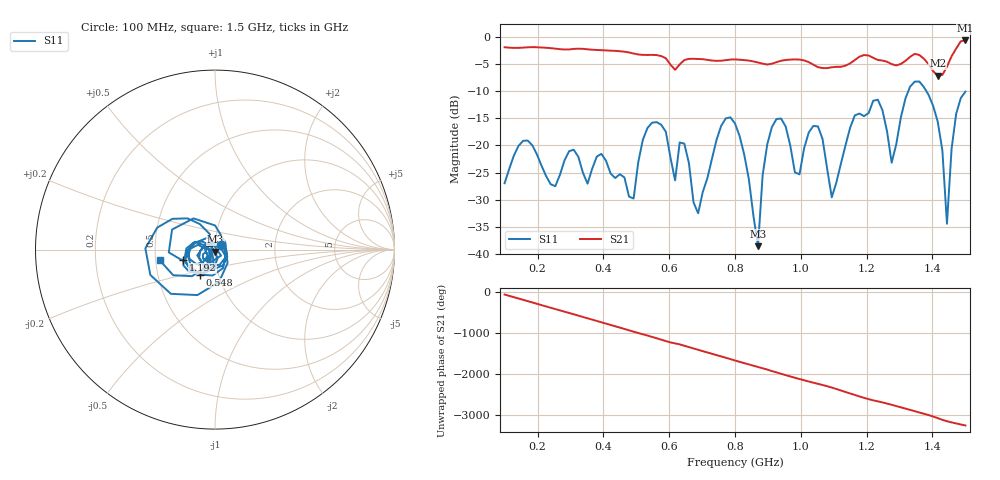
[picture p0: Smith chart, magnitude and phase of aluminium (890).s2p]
! NanoVNA-App
! Date: 2025-09-25 15:02:12
! Start: 100MHz Stop: 1,5GHz Points: 101
! S-Parameter data: F S11 S21 S12 S22
# Hz S RI R 50
!  Frequency  S11_Real  S11_Imag  S21_Real  S21_Imag  S12_Real  S12_Imag  S22_Real  S22_Imag
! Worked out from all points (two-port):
!   101 points, 100 MHz to 1.5 GHz, reference 50 ohm
!   highest |S21| = -0.66 dB at 1.5 GHz (marker M1); lowest = -7.1 dB at 1.416 GHz (marker M2)
!   |S21| within 3 dB of the highest: start of sweep to 580.2 MHz; 1.457 GHz to end of sweep (the widest 2 of 4)
!   lowest |S11| = -38.5 dB at 870 MHz (marker M3), VSWR 1.02, Z = 50.3 - j1.16 ohm
!   |S11| at or under -10 dB: start of sweep to 1.327 GHz; 1.381 GHz to end of sweep
!   S12 and S22 are empty: the file has one direction only
!   S11 on the Smith chart (normalised r, x): 100 MHz: 1.07, +0.06; 548 MHz: 0.82, -0.23; 1.192 GHz: 0.69, -0.08; 1.5 GHz: 0.53, -0.07
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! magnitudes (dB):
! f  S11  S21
! 100 MHz  -27.0  -1.9
! 156 MHz  -19.2  -2.0
! 338 MHz  -25.0  -2.2
! 492 MHz  -29.8  -3.1
! 548 MHz  -15.8  -3.3
! 576 MHz  -16.2  -3.5
! 646 MHz  -19.7  -4.3
! 688 MHz  -32.5  -4.1
! 800 MHz  -15.9  -4.1
! 870 MHz  -38.5  -4.7
! 912 MHz  -16.6  -4.9
! 996 MHz  -25.3  -4.2
! 1.038 GHz  -16.4  -5.1
! 1.094 GHz  -29.5  -5.6
! 1.192 GHz  -14.6  -3.4
! 1.234 GHz  -11.6  -4.3
! 1.276 GHz  -23.2  -5.0
! 1.346 GHz  -8.2  -3.1
! 1.416 GHz  -15.6  -7.1
! 1.444 GHz  -34.4  -5.5
! 1.472 GHz  -14.2  -2.1
! 1.5 GHz  -10.1  -0.7
